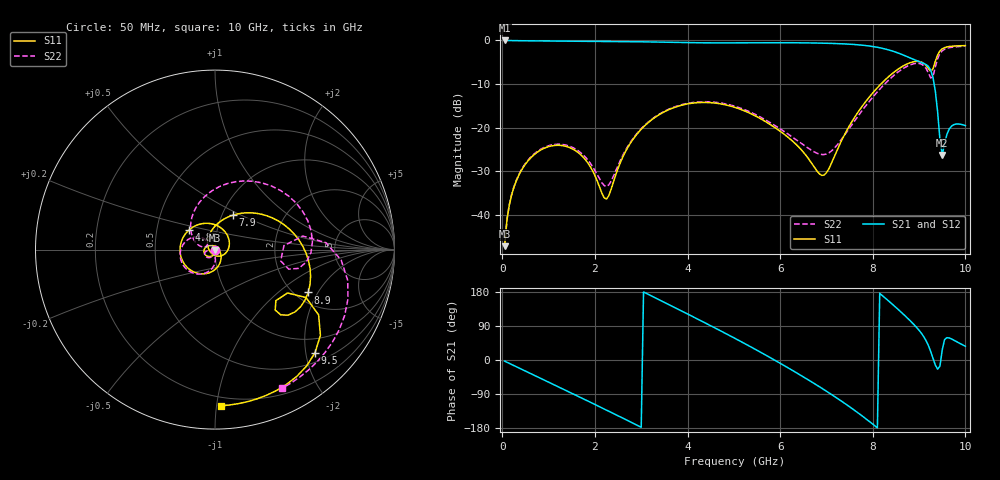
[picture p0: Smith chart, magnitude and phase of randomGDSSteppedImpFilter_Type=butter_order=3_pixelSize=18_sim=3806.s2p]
! freq	dB(S11)	phase(S11)	dB(S12)	phase(S12)
!  dB(S21)	phase(S21)	dB(S22)	phase(S22)
!S-par simulation data
#  GHz  S  DB  R 50
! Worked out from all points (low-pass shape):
!   200 points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, 50 MHz to 10 GHz, reference 50 ohm
!   highest |S21| = -0.02 dB at 50 MHz (marker M1); lowest = -26.2 dB at 9.5 GHz (marker M2)
!   |S21| within 3 dB of the highest: start of sweep to 8.58 GHz
!   lowest |S11| = -47.1 dB at 50 MHz (marker M3), VSWR 1.01, Z = 50.1 - j0.423 ohm
!   |S11| at or under -10 dB: start of sweep to 8.175 GHz
!   |S22| runs from -47.0 to -1.3 dB; largest |S21 - S12| = 0
!   S11 on the Smith chart (normalised r, x): 50 MHz: 1.00, -0.01; 4.85 GHz: 0.73, +0.17; 7.9 GHz: 1.12, +0.45; 8.9 GHz: 2.34, -1.66; 9.5 GHz: 0.68, -2.19; 10 GHz: 0.14, -1.03
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0.05  -47.10 -72.8  -0.02 -3.0  -0.02 -3.0  -46.97 -72.7
0.2  -35.43 -88.0  -0.05 -11.8  -0.05 -11.8  -35.34 -86.1
0.6  -27.04 -121.3  -0.11 -35.1  -0.11 -35.1  -26.87 -115.0
1.75  -26.76 153.4  -0.20 -102.5  -0.20 -102.5  -26.24 -169.7
2.25  -36.31 45.0  -0.23 -132.2  -0.23 -132.2  -33.43 -130.6
2.75  -23.80 -59.5  -0.28 -162.3  -0.28 -162.3  -23.59 -88.8
3.4  -16.92 -110.3  -0.41 158.1  -0.41 158.1  -16.82 -113.8
4.15  -14.31 -163.8  -0.55 112.2  -0.55 112.2  -14.17 -150.6
4.85  -14.83 142.8  -0.57 68.3  -0.57 68.3  -14.60 176.1
5.05  -15.43 126.0  -0.56 55.4  -0.56 55.4  -15.17 167.3
5.9  -20.06 41.4  -0.53 -1.6  -0.53 -1.6  -19.58 139.1
6.7  -28.43 -73.1  -0.60 -59.3  -0.60 -59.3  -25.30 139.2
6.95  -30.81 -147.1  -0.65 -78.5  -0.65 -78.5  -26.12 152.3
7.3  -23.51 126.5  -0.77 -106.6  -0.77 -106.6  -22.99 167.6
7.9  -13.30 62.6  -1.26 -159.7  -1.26 -159.7  -14.30 134.7
8.35  -8.23 24.2  -2.21 155.0  -2.21 155.0  -9.02 85.3
8.9  -4.86 -24.7  -4.44 92.1  -4.44 92.1  -5.32 17.1
9.15  -5.74 -44.8  -5.54 51.3  -5.54 51.3  -6.40 -12.6
9.3  -6.54 -30.9  -8.47 4.5  -8.47 4.5  -8.30 3.3
9.5  -1.93 -45.9  -26.21 26.6  -26.21 26.6  -2.40 -13.0
9.7  -1.35 -66.4  -19.64 55.6  -19.64 55.6  -1.59 -38.1
10  -1.20 -87.9  -19.51 36.2  -19.51 36.2  -1.33 -64.1
